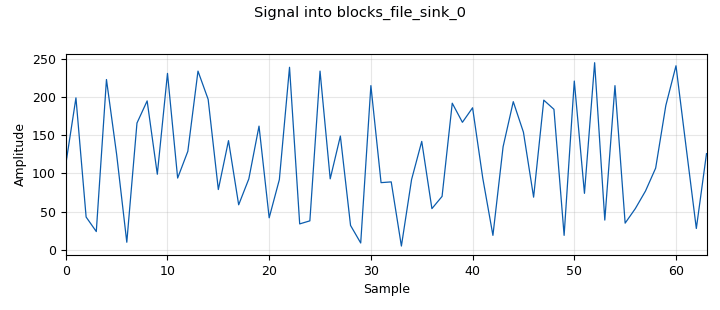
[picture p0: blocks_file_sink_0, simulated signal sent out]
options:
  parameters:
    generate_options: no_gui
    id: alpha_stable_generator
    output_language: python
    run_options: run
    title: Alpha stable simulation
  states: {}

blocks:
- name: alpha_map
  id: variable
  parameters:
    value: '[float(x) for x in alpha_map_str.split(",")]'
  states: {}
- name: beta_map
  id: variable
  parameters:
    value: '[float(x) for x in beta_map_str.split(",")]'
  states: {}
- name: gama_map
  id: variable
  parameters:
    value: '[float(x) for x in gama_map_str.split(",")]'
  states: {}
- name: samp_rate
  id: variable
  parameters:
    value: '64000'
  states: {}
- name: L
  id: parameter
  parameters:
    type: intx
    value: '20'
  states: {}
- name: alpha_map_str
  id: parameter
  parameters:
    type: str
    value: '"1.2,1.4,1.6,1.8"'
  states: {}
- name: analog_random_source_x_0
  id: analog_random_source_x
  parameters:
    max: '255'
    min: '0'
    num_samps: source_number_of_samples
    repeat: 'False'
    type: byte
  states: {}
- name: beta_map_str
  id: parameter
  parameters:
    type: str
    value: '"-1.0,1.0"'
  states: {}
- name: blocks_file_sink_0
  id: blocks_file_sink
  parameters:
    file: source_file
    type: byte
  states: {}
- name: blocks_file_sink_1
  id: blocks_file_sink
  parameters:
    file: decoded_file
    type: byte
  states: {}
- name: center_frequency
  id: parameter
  parameters:
    type: intx
    value: '915000000'
  states: {}
- name: decoded_file
  id: parameter
  parameters:
    type: str
    value: r"decoded.bin"
  states: {}
- name: encoded_file
  id: parameter
  parameters:
    type: str
    value: r"C:\Users\ANEDCD~1\Desktop\3.letnik\Diploma\simulations\encoded.bin"
  states: {}
- name: eos_timeout
  id: parameter
  parameters:
    label: EOS_timeout
    type: eng_float
    value: '3.0'
  states: {}
- name: epy_block_0
  id: epy_block
  parameters:
    _source_code: |-
      import sys
      from pathlib import Path

      _PROJECT_DIR = str(Path(__file__).resolve().parent.parent)
      if _PROJECT_DIR not in sys.path:
          sys.path.insert(0, _PROJECT_DIR)

      from sender.alpha_stable_generator_epy_block_0 import alpha_encoder
    alpha_map: alpha_map
    beta_map: beta_map
    encode_alpha: 'False'
    encode_beta: 'True'
    encode_gama: 'False'
    expected_input_bytes: source_number_of_samples
    gama_map: gama_map
    samples_per_symbol: samples_per_symbol
    sync_symbols: '32'
  states: {}
- name: epy_block_1
  id: epy_block
  parameters:
    L: L
    _source_code: |-
      import sys
      from pathlib import Path

      _PROJECT_DIR = str(Path(__file__).resolve().parent.parent)
      if _PROJECT_DIR not in sys.path:
          sys.path.insert(0, _PROJECT_DIR)

      from receiver.alpha_stable_generator_epy_block_1 import alpha_decoder
    beta_map: beta_map
    debug_symbols: '20'
    expected_output_bytes: source_number_of_samples
    header_repetitions: '3'
    max_payload_bytes: '1000000'
    samples_per_symbol: samples_per_symbol
    sync_symbols: '32'
    sync_threshold: '0.90'
  states: {}
- name: gama_map_str
  id: parameter
  parameters:
    type: str
    value: '"0.5,1.0,1.5,2.0"'
  states: {}
- name: noise_ratio
  id: parameter
  parameters:
    type: eng_float
    value: '10'
  states: {}
- name: qtgui_freq_sink_x_0
  id: qtgui_freq_sink_x
  parameters:
    bw: '250000'
    ctrlpanel: 'True'
    fc: center_frequency
    fftsize: '1024'
    type: complex
  states: {state: disabled}
- name: samples_per_symbol
  id: parameter
  parameters:
    type: intx
    value: '500'
  states: {}
- name: source_file
  id: parameter
  parameters:
    type: str
    value: r"source.bin"
  states: {}
- name: source_number_of_samples
  id: parameter
  parameters:
    type: intx
    value: '128'
  states: {}

connections:
- [analog_random_source_x_0, '0', blocks_file_sink_0, '0']
- [analog_random_source_x_0, '0', epy_block_0, '0']
- [epy_block_0, '0', epy_block_1, '0']
- [epy_block_1, '0', blocks_file_sink_1, '0']

metadata:
  file_format: 1
  grc_version: 3.10.12.0
